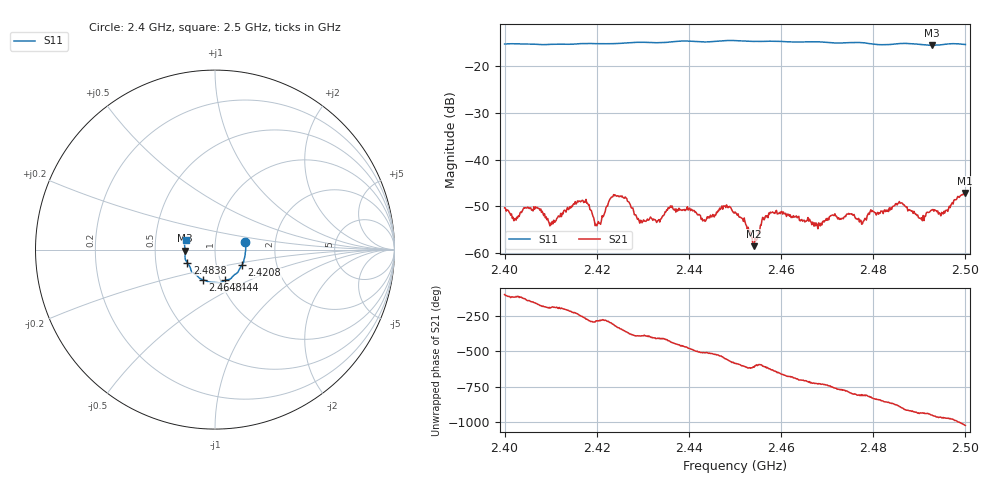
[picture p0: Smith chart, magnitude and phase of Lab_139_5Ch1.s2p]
# Hz S RI R 50
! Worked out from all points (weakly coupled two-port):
!   601 points, 2.4 GHz to 2.5 GHz, reference 50 ohm
!   highest |S21| = -47.12 dB at 2.4998 GHz (marker M1); lowest = -58.5 dB at 2.4542 GHz (marker M2)
!   lowest |S11| = -15.6 dB at 2.4927 GHz (marker M3), VSWR 1.40, Z = 35.7 - j0.461 ohm
!   |S11| at or under -10 dB: start of sweep to end of sweep
!   S12 and S22 are empty: the file has one direction only
!   S11 on the Smith chart (normalised r, x): 2.4 GHz: 1.39, +0.12; 2.4208 GHz: 1.33, -0.24; 2.444 GHz: 1.05, -0.37; 2.4648 GHz: 0.83, -0.29; 2.4838 GHz: 0.73, -0.11; 2.5 GHz: 0.72, +0.08
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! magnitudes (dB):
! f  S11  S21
! 2.4 GHz  -15.3  -50.3
! 2.4022 GHz  -15.2  -52.6
! 2.4072 GHz  -15.4  -50.4
! 2.41 GHz  -15.4  -53.6
! 2.4167 GHz  -15.2  -48.8
! 2.4208 GHz  -15.2  -53.8
! 2.4242 GHz  -15.2  -47.7
! 2.4293 GHz  -14.9  -53.6
! 2.4333 GHz  -15.0  -53.0
! 2.436 GHz  -14.9  -49.9
! 2.444 GHz  -14.9  -52.2
! 2.4477 GHz  -14.6  -49.9
! 2.45 GHz  -14.6  -51.2
! 2.4542 GHz  -14.7  -58.5
! 2.4578 GHz  -14.7  -51.3
! 2.4648 GHz  -14.9  -53.0
! 2.4667 GHz  -14.8  -53.9
! 2.4833 GHz  -15.4  -51.1
! 2.4838 GHz  -15.4  -50.3
! 2.4927 GHz  -15.6  -50.8
! 2.4998 GHz  -15.4  -47.1
! 2.5 GHz  -15.4  -47.3
